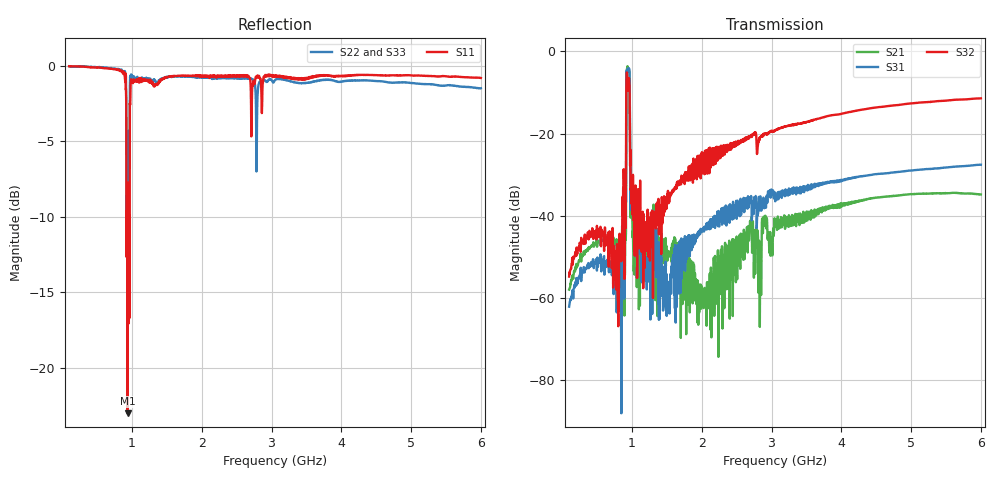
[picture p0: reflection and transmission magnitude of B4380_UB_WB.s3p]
! Matrix data file written by TouchstoneData, EPCOS AG
! FILENAME: "LY65A_X34Y34_F1_WB.s3p_newformat"
! COMMENT: "(LY65A_X34Y34_F1_WB.s3p) Epcos AG 12/3/2010"
! INFO: nport=3, nfreq=1601
! DATE: "Wed Jun 15 09:22:17 2011"
! USER: "Michael Schemies"
! port | pin | signal
!  1  |  1  |  in
!  2  |  8  |  out
!  3  |  9  |  out
# MHZ S MA R 50
! freq  magS11 angS11  magS12 angS12  magS13 angS13  ...
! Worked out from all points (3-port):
!   1601 points, 100 MHz to 6 GHz, reference 50 ohm
!   strongest paths, dB at 100 MHz, 1.575 GHz, 3.05 GHz, 4.525 GHz, 6 GHz:
!     S32: -54.8, -34.5, -19.3, -13.6, -11.4
!     S31: -62.2, -51.1, -36.0, -29.8, -27.6
!     S21: -58.0, -47.0, -41.7, -35.6, -34.8
!   lowest |S11| = -23.0 dB at 937.1 MHz (marker M1), VSWR 1.15, Z = 57.5 + j1.41 ohm
!   |S11| at or under -10 dB: 921.3 MHz to 929 MHz (7.7 MHz wide, 0.832 % of centre); 930.1 MHz to 941.7 MHz (11.68 MHz wide, 1.25 % of centre); 951.4 MHz to 962.8 MHz (11.33 MHz wide, 1.18 % of centre) (the widest 3 of 4)
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100  0.9966 -12.5  0.001267 78.4  0.0007821 75.1
     0.00126 76.8  0.9965 -7.3  0.001829 84.5
     0.0007807 73.8  0.001816 83.2  0.9984 -6.9
479.8125  0.9873 -56.9  0.004472 48.0  0.002796 45.4
          0.004514 47.8  0.9906 -34.1  0.006331 57.3
          0.0028 45.9  0.006288 57.1  0.9933 -33.1
826.4375  0.9613 -98.9  0.003322 -1.5  0.001521 17.3
          0.003314 -1.2  0.9708 -64.9  0.00485 74.4
          0.001545 15.5  0.004837 74.2  0.9739 -63.4
885.4375  0.9554 -119.5  0.004273 161.4  0.003073 109.6
          0.004253 161.4  0.9495 -80.2  0.02602 152.3
          0.00306 109.1  0.026 152.5  0.945 -80.2
937.0625  0.07068 9.9  0.6621 85.9  0.6188 -94.2
          0.6626 85.9  0.4803 -42.7  0.4066 -45.2
          0.6185 -94.1  0.4062 -45.2  0.5475 -42.9
1040.312  0.8942 -80.5  0.003305 -71.9  0.008709 44.7
          0.003105 -72.2  0.8934 -53.2  0.003179 -32.6
          0.008592 45.0  0.003271 -32.0  0.8963 -50.3
1516  0.9183 -112.8  0.003223 8.1  0.0009955 113.2
      0.003068 7.9  0.9168 -81.2  0.0195 176.7
      0.0009886 112.6  0.02009 176.9  0.9202 -78.6
2039.625  0.9227 -132.1  0.00135 53.2  0.007509 145.3
          0.001324 53.4  0.9177 -102.1  0.03259 155.8
          0.007371 145.4  0.03206 155.9  0.923 -99.9
3050  0.9259 -153.1  0.00824 114.9  0.01586 112.5
      0.008215 114.8  0.8966 -127.7  0.1089 139.2
      0.01587 112.6  0.1088 139.4  0.9021 -125.2
6000  0.9115 169.0  0.01816 48.2  0.04184 65.7
      0.01816 48.4  0.8427 -177.2  0.2693 87.6
      0.04184 65.6  0.2689 87.7  0.8687 179.0
